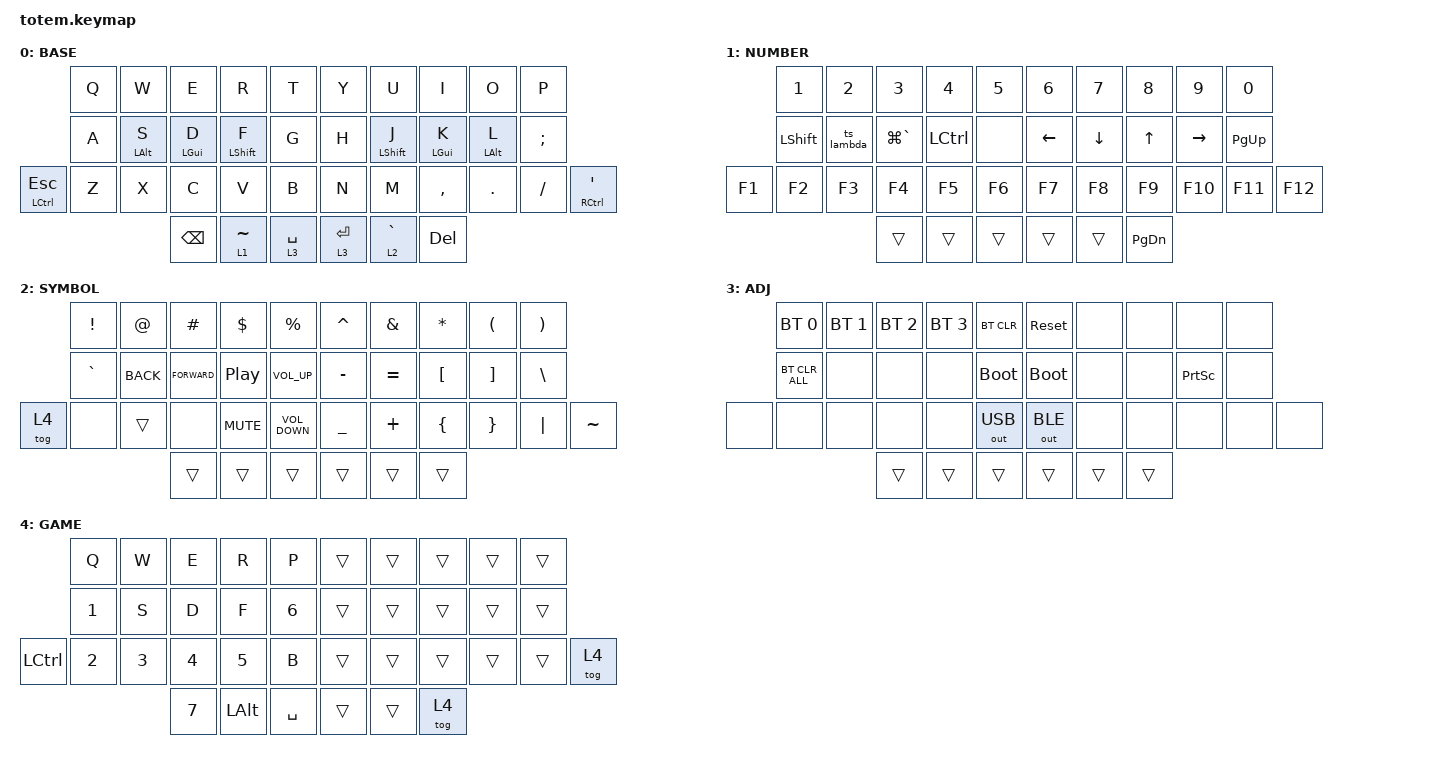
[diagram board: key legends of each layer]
//
//                                                        ▀▀▀▀▀     ▀▀▀▀▀          ▀▀█▀▀
//                                                        ▄▀▀▀▄  ▄  ▄▀▀▀▄  ▄  ▄▀▀▀▄  █  ▄▀▀▀▄
//                                                        █   █  █  █   █  █  █   █  █  █   █
//                                                         ▀▀▀   █   ▀▀▀   █   ▀▀▀   ▀   ▀▀▀
//                                                               █      ▄▄▄█▄▄▄    █   █  
//                                                               ▀      █  █  █     █▄█
//                                                             ▀▀▀▀▀    █  █  █      ▀
//                                                                      ▀  ▀  ▀
//
// ▄▄▄▄▄▄▄▄▄▄▄▄▄▄▄▄▄▄▄▄▄▄▄▄▄▄▄▄▄▄▄▄▄▄▄▄▄▄▄▄▄▄▄▄▄▄▄▄▄▄▄▄▄▄▄▄▄▄▄▄▄▄▄▄▄▄▄▄▄▄▄▄▄▄▄▄▄▄▄▄▄▄▄▄▄▄▄▄▄▄▄▄▄▄▄▄▄▄▄▄▄▄▄▄▄▄▄▄▄▄▄▄▄▄▄▄▄▄▄▄▄▄▄▄▄▄▄▄▄▄▄▄▄▄▄▄▄▄▄▄▄▄▄▄▄▄▄▄▄

#include <behaviors.dtsi>
#include <dt-bindings/zmk/bt.h>
#include <dt-bindings/zmk/keys.h>
#include <dt-bindings/zmk/outputs.h>

#define BASE 0
#define NAV  1
#define SYM  2
#define ADJ  3
#define TVP1 4
#define TVP2 5

&mt {
    quick-tap-ms = <150>;
    global-quick-tap;
    flavor = "tap-preferred";
    tapping-term-ms = <170>;
};

/ {
    combos {
        compatible = "zmk,combos";

        dash {
            bindings = <&kp MINUS>;
            key-positions = <19 31>;
            timeout-ms = <70>;
            layers = <0>;
        };

        enter_combo {
            bindings = <&kp ENTER>;
            key-positions = <13 12 11>;
            timeout-ms = <70>;
            require-prior-idle-ms = <100>;
            layers = <0>;
        };

        enter_right_combo {
            bindings = <&kp ENTER>;
            key-positions = <16 18 17>;
            timeout-ms = <70>;
            require-prior-idle-ms = <100>;
            layers = <0>;
        };

        tab_combo {
            bindings = <&kp TAB>;
            key-positions = <1 2>;
            timeout-ms = <50>;
            require-prior-idle-ms = <100>;
            layers = <0>;
        };

        tab_gaming {
            bindings = <&kp TAB>;
            key-positions = <20 10>;
            layers = <4>;
        };

        tilde {
            bindings = <&kp TILDE>;
            key-positions = <0 20>;
            layers = <0>;
        };
    };

    macros {
        ts_lambda: ts_lambda {
            label = "TS_LAMBDA";
            compatible = "zmk,behavior-macro";
            #binding-cells = <0>;
            bindings = <&kp LPAR &kp RPAR &kp EQUAL &kp GT>;
        };
    };

    behaviors {
        mt_left: mt_left {
            compatible = "zmk,behavior-hold-tap";
            label = "MT_LEFT";
            bindings = <&kp>, <&kp>;

            #binding-cells = <2>;
            tapping-term-ms = <400>;
            quick-tap-ms = <170>;
            flavor = "balanced";
            hold-trigger-key-positions = <26 27 16 15 5 6 7 5 6 7 8 9 15 16 17 18 19 26 27 28 29 31 5 6 7 8 9 15 16 17 18 19 26 27 28 29 30 31 35 36 37 32 33 34>;
            require-prior-idle-ms = <50>;
            hold-trigger-on-release;
        };

        mt_right: mt_right {
            compatible = "zmk,behavior-hold-tap";
            label = "MT_RIGHT";
            bindings = <&kp>, <&kp>;

            #binding-cells = <2>;
            tapping-term-ms = <400>;
            quick-tap-ms = <170>;
            flavor = "balanced";
            require-prior-idle-ms = <50>;
            hold-trigger-on-release;
            hold-trigger-key-positions = <0 1 4 10 11 12 13 14 20 21 22 23 24 25 2 35 36 37 3 32 33 34>;
        };

        mt_thumb: mt_thumb {
            compatible = "zmk,behavior-hold-tap";
            label = "MT_THUMB";
            bindings = <&kp>, <&kp>;

            #binding-cells = <2>;
            quick-tap-ms = <220>;
            flavor = "balanced";
            tapping-term-ms = <100>;
            require-prior-idle-ms = <0>;
        };

        mt_shift_left: mt_shift_left {
            compatible = "zmk,behavior-hold-tap";
            label = "MT_SHIFT_LEFT";
            bindings = <&kp>, <&kp>;

            #binding-cells = <2>;
            tapping-term-ms = <175>;
            quick-tap-ms = <175>;
            flavor = "tap-preferred";
            hold-trigger-key-positions = <19 26 27 29 30 31 36 37 35 36 32 33 34 5 6 7 8 9 15 16 17 18 19 26 27 28 29 31>;
            require-prior-idle-ms = <20>;
        };

        mt_shift_right: mt_shift_right {
            compatible = "zmk,behavior-hold-tap";
            label = "MT_SHIFT_RIGHT";
            bindings = <&kp>, <&kp>;

            #binding-cells = <2>;
            tapping-term-ms = <175>;
            quick-tap-ms = <175>;
            flavor = "tap-preferred";
            hold-trigger-key-positions = <0 1 2 3 4 10 11 12 13 14 20 21 22 23 24 25 32 33 34 35 36 37>;
            require-prior-idle-ms = <20>;
        };

        hold_sticky: hold_sticky {
            compatible = "zmk,behavior-hold-tap";
            label = "HOLD_STICKY";
            bindings = <&kp>, <&sk>;

            #binding-cells = <2>;
            flavor = "hold-preferred";
            tapping-term-ms = <150>;
            quick-tap-ms = <220>;
        };

        mt_all: mt_all {
            compatible = "zmk,behavior-hold-tap";
            label = "MT_ALL";
            bindings = <&kp>, <&kp>;

            #binding-cells = <2>;
            tapping-term-ms = <175>;
            quick-tap-ms = <175>;
            flavor = "balanced";
            require-prior-idle-ms = <35>;
            hold-trigger-on-release;
        };
    };

    keymap {
        compatible = "zmk,keymap";

        // ▄▄▄▄▄▄▄▄▄▄▄▄▄▄▄▄▄▄▄▄▄▄▄▄▄▄▄▄▄▄▄▄▄▄▄▄▄▄▄▄▄▄▄▄▄▄▄▄▄▄▄▄▄▄▄▄▄▄▄▄▄▄▄▄▄▄▄▄▄▄▄▄▄▄▄▄▄▄▄▄▄▄▄▄▄▄▄▄▄▄▄▄▄▄▄▄▄▄▄▄▄▄▄▄▄▄▄▄▄▄▄▄▄▄▄▄▄▄▄▄▄▄▄▄▄▄▄▄▄▄▄▄▄▄▄▄▄▄▄▄▄▄▄▄▄▄▄▄▄

        base_layer {
            // ┏━━━━━━━━━━━━━━━━━━━━━━━━━━━━━━━━━━━━━━━┓

            display-name = "BASE";

            // ┗━━━━━━━━━━━━━━━━━━━━━━━━━━━━━━━━━━━━━━━┛
            //             ┏━━━━━━━━━━━┳━━━━━━━━━━━┳━━━━━━━━━━━┳━━━━━━━━━━━┳━━━━━━━━━━━┓   ┏━━━━━━━━━━━┳━━━━━━━━━━━┳━━━━━━━━━━━┳━━━━━━━━━━━┳━━━━━━━━━━━┓
            //             ┃     Q     ┃     W     ┃     E     ┃     R     ┃     T     ┃   ┃     Y     ┃     U     ┃     I     ┃     O     ┃     P     ┃
            //             ┣━━━━━━━━━━━╋━━━━━━━━━━━╋━━━━━━━━━━━╋━━━━━━━━━━━╋━━━━━━━━━━━┫   ┣━━━━━━━━━━━╋━━━━━━━━━━━╋━━━━━━━━━━━╋━━━━━━━━━━━╋━━━━━━━━━━━┫
            //             ┃     A     ┃     S     ┃     D     ┃     F     ┃     G     ┃   ┃     H     ┃     J     ┃     K     ┃     L     ┃     ;     ┃
            // ┏━━━━━━━━━━━╋━━━━━━━━━━━╋━━━━━━━━━━━╋━━━━━━━━━━━╋━━━━━━━━━━━╋━━━━━━━━━━━┫   ┣━━━━━━━━━━━╋━━━━━━━━━━━╋━━━━━━━━━━━╋━━━━━━━━━━━╋━━━━━━━━━━━╋━━━━━━━━━━━┓
            // ┃ CTRL/ESC  ┃     Z     ┃     X     ┃     C     ┃     V     ┃     B     ┃   ┃     N     ┃     M     ┃     ,     ┃     .     ┃     /     ┃  CTRL/'   ┃
            // ┗━━━━━━━━━━━┻━━━━━━━━━━━┻━━━━━━━━━━━╋━━━━━━━━━━━╋━━━━━━━━━━━╋━━━━━━━━━━━┫   ┣━━━━━━━━━━━╋━━━━━━━━━━━╋━━━━━━━━━━━╋━━━━━━━━━━━┻━━━━━━━━━━━┻━━━━━━━━━━━┛
            //                                     ┃    BSPC   ┃  LWR/TILDE┃  SPC/ADJ  ┃   ┃  ENT/ADJ  ┃  RSE/GRAVE┃    DEL    ┃
            //                                     ┗━━━━━━━━━━━┻━━━━━━━━━━━┻━━━━━━━━━━━┛   ┗━━━━━━━━━━━┻━━━━━━━━━━━┻━━━━━━━━━━━┛
            // TAB = combo W+E. Home-row mods: S=LAlt, D=LGui, F=LShift | J=RShift, K=RGui, L=RAlt

            bindings = <
                             &kp Q  &kp W                  &kp E            &kp R                    &kp T        &kp Y    &kp U                     &kp I             &kp O                   &kp P
                             &kp A  &mt_shift_left LALT S  &mt_left LGUI D  &mt_shift_left LSHIFT F  &kp G        &kp H    &mt_shift_right LSHIFT J  &mt_right LGUI K  &mt_shift_right LALT L  &kp SEMICOLON
&mt_all LEFT_CONTROL ESCAPE  &kp Z  &kp X                  &kp C            &kp V                    &kp B        &kp N    &kp M                     &kp COMMA         &kp DOT                 &kp FSLH       &mt_all RCTRL SQT
                                                           &kp BACKSPACE    &lt 1 TILDE              &lt 3 SPACE  &lt 3 ENTER  &lt 2 GRAVE               &kp DELETE
            >;
        };

        // ▄▄▄▄▄▄▄▄▄▄▄▄▄▄▄▄▄▄▄▄▄▄▄▄▄▄▄▄▄▄▄▄▄▄▄▄▄▄▄▄▄▄▄▄▄▄▄▄▄▄▄▄▄▄▄▄▄▄▄▄▄▄▄▄▄▄▄▄▄▄▄▄▄▄▄▄▄▄▄▄▄▄▄▄▄▄▄▄▄▄▄▄▄▄▄▄▄▄▄▄▄▄▄▄▄▄▄▄▄▄▄▄▄▄▄▄▄▄▄▄▄▄▄▄▄▄▄▄▄▄▄▄▄▄▄▄▄▄▄▄▄▄▄▄▄▄▄▄▄

        nav_layer {
            display-name = "NUMBER";

            // Corne-style number layer:
            //   1    2    3    4    5    |   6    7    8    9    0
            // SHFT  () => CMD` CTRL      |   <-   v    ^    ->  PGUP
            //  F1   F2   F3   F4   F5  F6 |  F7   F8   F9  F10  F11  F12
            //              (thumbs as base)                | PGDN on right outer thumb
            bindings = <
&kp N1  &kp N2  &kp N3  &kp N4  &kp N5    &kp N6  &kp N7  &kp N8  &kp N9  &kp N0
&kp LSHFT  &ts_lambda  &kp LG(GRAVE)  &kp LCTRL  &none    &kp LEFT  &kp DOWN  &kp UP  &kp RIGHT  &kp PG_UP
&kp F1  &kp F2  &kp F3  &kp F4  &kp F5  &kp F6    &kp F7  &kp F8  &kp F9  &kp F10  &kp F11  &kp F12
                                      &trans  &trans  &trans    &trans  &trans  &kp PG_DN
            >;
        };

        // ▄▄▄▄▄▄▄▄▄▄▄▄▄▄▄▄▄▄▄▄▄▄▄▄▄▄▄▄▄▄▄▄▄▄▄▄▄▄▄▄▄▄▄▄▄▄▄▄▄▄▄▄▄▄▄▄▄▄▄▄▄▄▄▄▄▄▄▄▄▄▄▄▄▄▄▄▄▄▄▄▄▄▄▄▄▄▄▄▄▄▄▄▄▄▄▄▄▄▄▄▄▄▄▄▄▄▄▄▄▄▄▄▄▄▄▄▄▄▄▄▄▄▄▄▄▄▄▄▄▄▄▄▄▄▄▄▄▄▄▄▄▄▄▄▄▄▄▄▄

        sim_layer {
            display-name = "SYMBOL";

            // Corne-style symbol layer:
            //   !    @    #    $    %    |    ^    &    *    (    )
            // GRAVE BACK FWD PLAY VOL+   |    -    =    [    ]    \
            // GAME  ---   X   --- MUTE VOL- |   _    +    {    }    |    ~
            //              (thumbs as base)
            bindings = <
&kp EXCL  &kp AT  &kp HASH  &kp DLLR  &kp PRCNT    &kp CARET  &kp AMPS  &kp ASTRK  &kp LPAR  &kp RPAR
&kp GRAVE  &kp K_BACK  &kp K_FORWARD  &kp C_PLAY_PAUSE  &kp C_VOLUME_UP    &kp MINUS  &kp EQUAL  &kp LBKT  &kp RBKT  &kp BSLH
&tog 4  &none  &trans  &none  &kp C_MUTE  &kp C_VOLUME_DOWN    &kp UNDER  &kp PLUS  &kp LBRC  &kp RBRC  &kp PIPE  &kp TILDE
                                      &trans  &trans  &trans    &trans  &trans  &trans
            >;
        };

        // ▄▄▄▄▄▄▄▄▄▄▄▄▄▄▄▄▄▄▄▄▄▄▄▄▄▄▄▄▄▄▄▄▄▄▄▄▄▄▄▄▄▄▄▄▄▄▄▄▄▄▄▄▄▄▄▄▄▄▄▄▄▄▄▄▄▄▄▄▄▄▄▄▄▄▄▄▄▄▄▄▄▄▄▄▄▄▄▄▄▄▄▄▄▄▄▄▄▄▄▄▄▄▄▄▄▄▄▄▄▄▄▄▄▄▄▄▄▄▄▄▄▄▄▄▄▄▄▄▄▄▄▄▄▄▄▄▄▄▄▄▄▄▄▄▄▄▄▄▄

        adjust_layer {
            // ┏━━━━━━━━━━━━━━━━━━━━━━━━━━━━━━━━━━━━━━━┓

            display-name = "ADJ";

            // Corne Fn layer, fitted. Hold SPC or ENT.
            // BT0  BT1  BT2  BT3  BTCLR     | RESET  -   -   -    -
            // CLRALL -   -    -   BOOT      | BOOT   -   -  PSCR  -
            //  -   -    -    -   USB  BLE   |  -     -   -   -    -   -
            bindings = <
         &bt BT_SEL 0  &bt BT_SEL 1  &bt BT_SEL 2  &bt BT_SEL 3  &bt BT_CLR     &sys_reset   &none  &none  &none            &none
         &bt BT_CLR_ALL &none        &none         &none         &bootloader    &bootloader  &none  &none  &kp PRINTSCREEN  &none
&none    &none         &none         &none         &none         &out OUT_USB   &out OUT_BLE  &none  &none  &none  &none  &none
                                     &trans        &trans        &trans         &trans       &trans  &trans
            >;
        };

        // ▄▄▄▄▄▄▄▄▄▄▄▄▄▄▄▄▄▄▄▄▄▄▄▄▄▄▄▄▄▄▄▄▄▄▄▄▄▄▄▄▄▄▄▄▄▄▄▄▄▄▄▄▄▄▄▄▄▄▄▄▄▄▄▄▄▄▄▄▄▄▄▄▄▄▄▄▄▄▄▄▄▄▄▄▄▄▄▄▄▄▄▄▄▄▄▄▄▄▄▄▄▄▄▄▄▄▄▄▄▄▄▄▄▄▄▄▄▄▄▄▄▄▄▄▄▄▄▄▄▄▄▄▄▄▄▄▄▄▄▄▄▄▄▄▄▄▄▄▄
        // ▄▄▄▄▄▄▄▄▄▄▄▄▄▄▄▄▄▄▄▄▄▄▄▄▄▄▄▄▄▄▄▄▄▄▄▄▄▄▄▄▄▄▄▄▄▄▄▄▄▄▄▄▄▄▄▄▄▄▄▄▄▄▄▄▄▄▄▄▄▄▄▄▄▄▄▄▄▄▄▄▄▄▄▄▄▄▄▄▄▄▄▄▄▄▄▄▄▄▄▄▄▄▄▄▄▄▄▄▄▄▄▄▄▄▄▄▄▄▄▄▄▄▄▄▄▄▄▄▄▄▄▄▄▄▄▄▄▄▄▄▄▄▄▄▄▄▄▄▄

        gaming {
            display-name = "GAME";
            bindings = <
           &kp Q   &kp W   &kp E   &kp R     &kp P        &trans  &trans  &trans  &trans  &trans
           &kp N1  &kp S   &kp D   &kp F     &kp N6       &trans  &trans  &trans  &trans  &trans
&kp LCTRL  &kp N2  &kp N3  &kp N4  &kp N5    &kp B        &trans  &trans  &trans  &trans  &trans  &tog 4
                           &kp N7  &kp LALT  &kp SPACE    &trans  &trans  &tog 4
            >;
        };
    };
};
